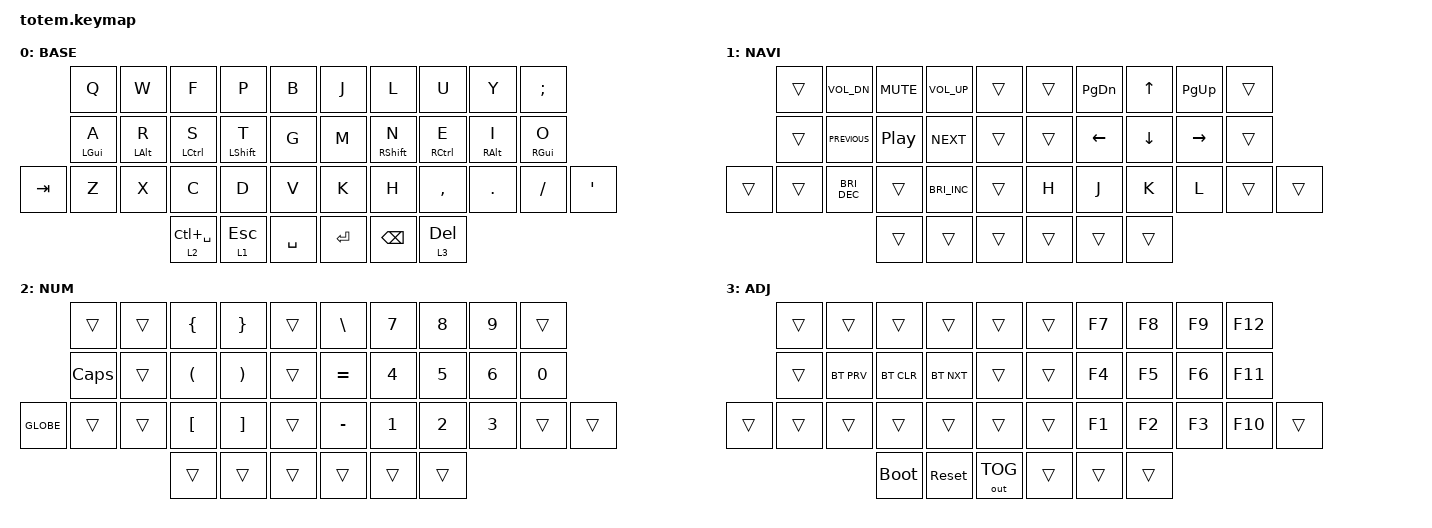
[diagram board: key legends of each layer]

//
//                                                        ▀▀▀▀▀     ▀▀▀▀▀          ▀▀█▀▀
//                                                        ▄▀▀▀▄  ▄  ▄▀▀▀▄  ▄  ▄▀▀▀▄  █  ▄▀▀▀▄
//                                                        █   █  █  █   █  █  █   █  █  █   █
//                                                         ▀▀▀   █   ▀▀▀   █   ▀▀▀   ▀   ▀▀▀
//                                                               █      ▄▄▄█▄▄▄    █   █  
//                                                               ▀      █  █  █     █▄█
//                                                             ▀▀▀▀▀    █  █  █      ▀
//                                                                      ▀  ▀  ▀
//
// ▄▄▄▄▄▄▄▄▄▄▄▄▄▄▄▄▄▄▄▄▄▄▄▄▄▄▄▄▄▄▄▄▄▄▄▄▄▄▄▄▄▄▄▄▄▄▄▄▄▄▄▄▄▄▄▄▄▄▄▄▄▄▄▄▄▄▄▄▄▄▄▄▄▄▄▄▄▄▄▄▄▄▄▄▄▄▄▄▄▄▄▄▄▄▄▄▄▄▄▄▄▄▄▄▄▄▄▄▄▄▄▄▄▄▄▄▄▄▄▄▄▄▄▄▄▄▄▄▄▄▄▄▄▄▄▄▄▄▄▄▄▄▄▄▄▄▄▄▄

#include <behaviors.dtsi>
#include <dt-bindings/zmk/bt.h>
#include <dt-bindings/zmk/keys.h>
#include <dt-bindings/zmk/outputs.h>

#define BASE 0
#define NAV  1
#define SYM  2
#define ADJ  3
#define TVP1 4
#define TVP2 5

&mt {
    quick-tap-ms = <100>;
    global-quick-tap;
    flavor = "tap-preferred";
    tapping-term-ms = <170>;
};

/ {
    combos {
        compatible = "zmk,combos";

        combo_esc {
            timeout-ms = <50>;
            key-positions = <0 1>;
            bindings = <&kp ESC>;
        };

        combo_tvp {
            timeout-ms = <100>;
            key-positions = <11 12 13>;
            bindings = <&tog 0>;
        };
    };

    macros {
        gif: gif {
            label = "giphy";
            compatible = "zmk,behavior-macro";
            #binding-cells = <0>;
            bindings =
                <&macro_press>,
                <&kp LSHFT>,
                <&macro_tap>,
                <&kp N2>,
                <&macro_release>,
                <&kp LSHFT>,
                <&macro_tap>,
                <&kp G &kp I &kp F>;
        };

        tmux: tmux {
            compatible = "zmk,behavior-macro";
            #binding-cells = <0>;
            bindings = <&kp LC(SPACE)>;
            label = "TMUX";
        };
    };

    keymap {
        compatible = "zmk,keymap";

        // ▄▄▄▄▄▄▄▄▄▄▄▄▄▄▄▄▄▄▄▄▄▄▄▄▄▄▄▄▄▄▄▄▄▄▄▄▄▄▄▄▄▄▄▄▄▄▄▄▄▄▄▄▄▄▄▄▄▄▄▄▄▄▄▄▄▄▄▄▄▄▄▄▄▄▄▄▄▄▄▄▄▄▄▄▄▄▄▄▄▄▄▄▄▄▄▄▄▄▄▄▄▄▄▄▄▄▄▄▄▄▄▄▄▄▄▄▄▄▄▄▄▄▄▄▄▄▄▄▄▄▄▄▄▄▄▄▄▄▄▄▄▄▄▄▄▄▄▄▄

        base_layer {
            // ┏━━━━━━━━━━━━━━━━━━━━━━━━━━━━━━━━━━━━━━━┓

            label = "BASE";

            // ┗━━━━━━━━━━━━━━━━━━━━━━━━━━━━━━━━━━━━━━━┛
            //             ┏━━━━━━━━━━━┳━━━━━━━━━━━┳━━━━━━━━━━━┳━━━━━━━━━━━┳━━━━━━━━━━━┓   ┏━━━━━━━━━━━┳━━━━━━━━━━━┳━━━━━━━━━━━┳━━━━━━━━━━━┳━━━━━━━━━━━┓
            //             ┃     Q     ┃     W     ┃     F     ┃     P     ┃     G     ┃   ┃     J     ┃     L     ┃     U     ┃     Y     ┃     ;     ┃
            //             ┣━━━━━━━━━━━╋━━━━━━━━━━━╋━━━━━━━━━━━╋━━━━━━━━━━━╋━━━━━━━━━━━┫   ┣━━━━━━━━━━━╋━━━━━━━━━━━╋━━━━━━━━━━━╋━━━━━━━━━━━╋━━━━━━━━━━━┫
            //             ┃     A     ┃     R     ┃     S     ┃     T     ┃     D     ┃   ┃     H     ┃     N     ┃     E     ┃     I     ┃     O     ┃
            // ┏━━━━━━━━━━━╋━━━━━━━━━━━╋━━━━━━━━━━━╋━━━━━━━━━━━╋━━━━━━━━━━━╋━━━━━━━━━━━┫   ┣━━━━━━━━━━━╋━━━━━━━━━━━╋━━━━━━━━━━━╋━━━━━━━━━━━╋━━━━━━━━━━━╋━━━━━━━━━━━┓
            // ┃     Q     ┃     Z     ┃     X     ┃     C     ┃     V     ┃     B     ┃   ┃     K     ┃     M     ┃     ,     ┃     .     ┃     /     ┃     \     ┃
            // ┗━━━━━━━━━━━┻━━━━━━━━━━━┻━━━━━━━━━━━╋━━━━━━━━━━━╋━━━━━━━━━━━╋━━━━━━━━━━━┫   ┣━━━━━━━━━━━╋━━━━━━━━━━━╋━━━━━━━━━━━╋━━━━━━━━━━━┻━━━━━━━━━━━┻━━━━━━━━━━━┛
            //                                     ┃    DEL    ┃    TAB    ┃    SPC    ┃   ┃   ENTER   ┃           ┃   BSPC    ┃
            //                                     ┗━━━━━━━━━━━┻━━━━━━━━━━━┻━━━━━━━━━━━┛   ┗━━━━━━━━━━━┻━━━━━━━━━━━┻━━━━━━━━━━━┛

            bindings = <
         &kp Q       &kp W       &kp F            &kp P         &kp B        &kp J      &kp L          &kp U         &kp Y       &kp SEMI
         &mt LGUI A  &mt LALT R  &mt LCTRL S      &mt LSHFT T   &kp G        &kp M      &mt RSHFT N    &mt RCTRL E   &mt RALT I  &mt RGUI O
&kp TAB  &kp Z       &kp X       &kp C            &kp D         &kp V        &kp K      &kp H          &kp COMMA     &kp DOT     &kp FSLH    &kp SQT
                                 &lt 2 LC(SPACE)  &lt 1 ESCAPE  &kp SPACE    &kp ENTER  &kp BACKSPACE  &lt 3 DELETE
            >;
        };

        nav_layer {
            // ┏━━━━━━━━━━━━━━━━━━━━━━━━━━━━━━━━━━━━━━━┓

            label = "NAVI";

            // ┗━━━━━━━━━━━━━━━━━━━━━━━━━━━━━━━━━━━━━━━┛
            //             ┏━━━━━━━━━━━┳━━━━━━━━━━━┳━━━━━━━━━━━┳━━━━━━━━━━━┳━━━━━━━━━━━┓   ┏━━━━━━━━━━━┳━━━━━━━━━━━┳━━━━━━━━━━━┳━━━━━━━━━━━┳━━━━━━━━━━━┓
            //             ┃     !     ┃     @     ┃     #     ┃     $     ┃     %     ┃   ┃     ˆ     ┃     &     ┃     Ü     ┃     '     ┃     "     ┃
            //             ┣━━━━━━━━━━━╋━━━━━━━━━━━╋━━━━━━━━━━━╋━━━━━━━━━━━╋━━━━━━━━━━━┫   ┣━━━━━━━━━━━╋━━━━━━━━━━━╋━━━━━━━━━━━╋━━━━━━━━━━━╋━━━━━━━━━━━┫
            //             ┃     Ä     ┃           ┃    SZ     ┃           ┃           ┃   ┃   MUTE    ┃   YEN     ┃   EURO    ┃  POUND    ┃     Ö     ┃
            // ┏━━━━━━━━━━━╋━━━━━━━━━━━╋━━━━━━━━━━━╋━━━━━━━━━━━╋━━━━━━━━━━━╋━━━━━━━━━━━┫   ┣━━━━━━━━━━━╋━━━━━━━━━━━╋━━━━━━━━━━━╋━━━━━━━━━━━╋━━━━━━━━━━━╋━━━━━━━━━━━┓
            // ┃           ┃  EMAIL1   ┃  EMAIL2   ┃           ┃           ┃           ┃   ┃   VOL-    ┃   VOL+    ┃   LAST    ┃   NEXT    ┃     \     ┃           ┃
            // ┗━━━━━━━━━━━┻━━━━━━━━━━━┻━━━━━━━━━━━╋━━━━━━━━━━━╋━━━━━━━━━━━╋━━━━━━━━━━━┫   ┣━━━━━━━━━━━╋━━━━━━━━━━━╋━━━━━━━━━━━╋━━━━━━━━━━━┻━━━━━━━━━━━┻━━━━━━━━━━━┛
            //                                     ┃           ┃    GIF    ┃    ADJ    ┃   ┃           ┃           ┃           ┃
            //                                     ┗━━━━━━━━━━━┻━━━━━━━━━━━┻━━━━━━━━━━━┛   ┗━━━━━━━━━━━┻━━━━━━━━━━━┻━━━━━━━━━━━┛

            bindings = <
        &trans  &kp C_VOL_DN          &kp C_MUTE        &kp C_VOLUME_UP       &trans    &trans  &kp PAGE_DOWN  &kp UP_ARROW  &kp PAGE_UP  &trans
        &trans  &kp C_PREVIOUS        &kp C_PLAY_PAUSE  &kp C_NEXT            &trans    &trans  &kp LEFT       &kp DOWN      &kp RIGHT    &trans
&trans  &trans  &kp C_BRIGHTNESS_DEC  &trans            &kp C_BRIGHTNESS_INC  &trans    &kp H   &kp J          &kp K         &kp L        &trans  &trans
                                      &trans            &trans                &trans    &trans  &trans         &trans
            >;
        };

        num_layer {
            // ┏━━━━━━━━━━━━━━━━━━━━━━━━━━━━━━━━━━━━━━━┓

            label = "NUM";

            // ┗━━━━━━━━━━━━━━━━━━━━━━━━━━━━━━━━━━━━━━━┛
            //             ┏━━━━━━━━━━━┳━━━━━━━━━━━┳━━━━━━━━━━━┳━━━━━━━━━━━┳━━━━━━━━━━━┓   ┏━━━━━━━━━━━┳━━━━━━━━━━━┳━━━━━━━━━━━┳━━━━━━━━━━━┳━━━━━━━━━━━┓
            //             ┃           ┃           ┃     UP    ┃           ┃     {     ┃   ┃     }     ┃     7     ┃     8     ┃     9     ┃     +     ┃
            //             ┣━━━━━━━━━━━╋━━━━━━━━━━━╋━━━━━━━━━━━╋━━━━━━━━━━━╋━━━━━━━━━━━┫   ┣━━━━━━━━━━━╋━━━━━━━━━━━╋━━━━━━━━━━━╋━━━━━━━━━━━╋━━━━━━━━━━━┫
            //             ┃   SHIFT   ┃   LEFT    ┃    DOWN   ┃   RIGHT   ┃     [     ┃   ┃     ]     ┃     4     ┃     5     ┃     6     ┃     -     ┃
            // ┏━━━━━━━━━━━╋━━━━━━━━━━━╋━━━━━━━━━━━╋━━━━━━━━━━━╋━━━━━━━━━━━╋━━━━━━━━━━━┫   ┣━━━━━━━━━━━╋━━━━━━━━━━━╋━━━━━━━━━━━╋━━━━━━━━━━━╋━━━━━━━━━━━╋━━━━━━━━━━━┓
            // ┃           ┃           ┃   P UP    ┃  C LOCK   ┃  P DOWN   ┃     (     ┃   ┃     )     ┃     1     ┃     2     ┃     3     ┃     *     ┃           ┃
            // ┗━━━━━━━━━━━┻━━━━━━━━━━━┻━━━━━━━━━━━╋━━━━━━━━━━━╋━━━━━━━━━━━╋━━━━━━━━━━━┫   ┣━━━━━━━━━━━╋━━━━━━━━━━━╋━━━━━━━━━━━╋━━━━━━━━━━━┻━━━━━━━━━━━┻━━━━━━━━━━━┛
            //                                     ┃           ┃    TAB    ┃    SPC    ┃   ┃    DEL    ┃     0     ┃           ┃
            //                                     ┗━━━━━━━━━━━┻━━━━━━━━━━━┻━━━━━━━━━━━┛   ┗━━━━━━━━━━━┻━━━━━━━━━━━┻━━━━━━━━━━━┛

            bindings = <
           &trans        &trans  &kp LEFT_BRACE        &kp RIGHT_BRACE        &trans    &kp BACKSLASH  &kp N7        &kp N8        &kp N9        &trans
           &kp CAPSLOCK  &trans  &kp LEFT_PARENTHESIS  &kp RIGHT_PARENTHESIS  &trans    &kp EQUAL      &kp NUMBER_4  &kp N5        &kp NUMBER_6  &kp N0
&kp GLOBE  &trans        &trans  &kp LEFT_BRACKET      &kp RIGHT_BRACKET      &trans    &kp MINUS      &kp NUMBER_1  &kp NUMBER_2  &kp NUMBER_3  &trans  &trans
                                 &trans                &trans                 &trans    &trans         &trans        &trans
            >;
        };

        adjust_layer {
            // ┏━━━━━━━━━━━━━━━━━━━━━━━━━━━━━━━━━━━━━━━┓

            label = "ADJ";

            // ┗━━━━━━━━━━━━━━━━━━━━━━━━━━━━━━━━━━━━━━━┛
            //             ┏━━━━━━━━━━━┳━━━━━━━━━━━┳━━━━━━━━━━━┳━━━━━━━━━━━┳━━━━━━━━━━━┓   ┏━━━━━━━━━━━┳━━━━━━━━━━━┳━━━━━━━━━━━┳━━━━━━━━━━━┳━━━━━━━━━━━┓
            //             ┃   RESET   ┃ BT CLEAR  ┃  OUT TOG  ┃           ┃           ┃   ┃           ┃    F7     ┃    F8     ┃    F9     ┃    F12    ┃
            //             ┣━━━━━━━━━━━╋━━━━━━━━━━━╋━━━━━━━━━━━╋━━━━━━━━━━━╋━━━━━━━━━━━┫   ┣━━━━━━━━━━━╋━━━━━━━━━━━╋━━━━━━━━━━━╋━━━━━━━━━━━╋━━━━━━━━━━━┫
            //             ┃ BOOTLOAD  ┃ BT NEXT   ┃           ┃           ┃           ┃   ┃           ┃    F4     ┃    F5     ┃    F6     ┃    F11    ┃
            // ┏━━━━━━━━━━━╋━━━━━━━━━━━╋━━━━━━━━━━━╋━━━━━━━━━━━╋━━━━━━━━━━━╋━━━━━━━━━━━┫   ┣━━━━━━━━━━━╋━━━━━━━━━━━╋━━━━━━━━━━━╋━━━━━━━━━━━╋━━━━━━━━━━━╋━━━━━━━━━━━┓
            // ┃           ┃           ┃ BT PREV   ┃           ┃           ┃           ┃   ┃           ┃    F1     ┃    F2     ┃    F3     ┃    F10    ┃           ┃
            // ┗━━━━━━━━━━━┻━━━━━━━━━━━┻━━━━━━━━━━━╋━━━━━━━━━━━╋━━━━━━━━━━━╋━━━━━━━━━━━┫   ┣━━━━━━━━━━━╋━━━━━━━━━━━╋━━━━━━━━━━━╋━━━━━━━━━━━┻━━━━━━━━━━━┻━━━━━━━━━━━┛
            //                                     ┃           ┃           ┃           ┃   ┃           ┃           ┃           ┃
            //                                     ┗━━━━━━━━━━━┻━━━━━━━━━━━┻━━━━━━━━━━━┛   ┗━━━━━━━━━━━┻━━━━━━━━━━━┻━━━━━━━━━━━┛

            bindings = <
        &trans  &trans      &trans       &trans      &trans          &trans  &kp F7  &kp F8  &kp F9  &kp F12
        &trans  &bt BT_PRV  &bt BT_CLR   &bt BT_NXT  &trans          &trans  &kp F4  &kp F5  &kp F6  &kp F11
&trans  &trans  &trans      &trans       &trans      &trans          &trans  &kp F1  &kp F2  &kp F3  &kp F10  &trans
                            &bootloader  &sys_reset  &out OUT_TOG    &trans  &trans  &trans
            >;
        };

        // ▄▄▄▄▄▄▄▄▄▄▄▄▄▄▄▄▄▄▄▄▄▄▄▄▄▄▄▄▄▄▄▄▄▄▄▄▄▄▄▄▄▄▄▄▄▄▄▄▄▄▄▄▄▄▄▄▄▄▄▄▄▄▄▄▄▄▄▄▄▄▄▄▄▄▄▄▄▄▄▄▄▄▄▄▄▄▄▄▄▄▄▄▄▄▄▄▄▄▄▄▄▄▄▄▄▄▄▄▄▄▄▄▄▄▄▄▄▄▄▄▄▄▄▄▄▄▄▄▄▄▄▄▄▄▄▄▄▄▄▄▄▄▄▄▄▄▄▄▄
        // ▄▄▄▄▄▄▄▄▄▄▄▄▄▄▄▄▄▄▄▄▄▄▄▄▄▄▄▄▄▄▄▄▄▄▄▄▄▄▄▄▄▄▄▄▄▄▄▄▄▄▄▄▄▄▄▄▄▄▄▄▄▄▄▄▄▄▄▄▄▄▄▄▄▄▄▄▄▄▄▄▄▄▄▄▄▄▄▄▄▄▄▄▄▄▄▄▄▄▄▄▄▄▄▄▄▄▄▄▄▄▄▄▄▄▄▄▄▄▄▄▄▄▄▄▄▄▄▄▄▄▄▄▄▄▄▄▄▄▄▄▄▄▄▄▄▄▄▄▄
    };
};
